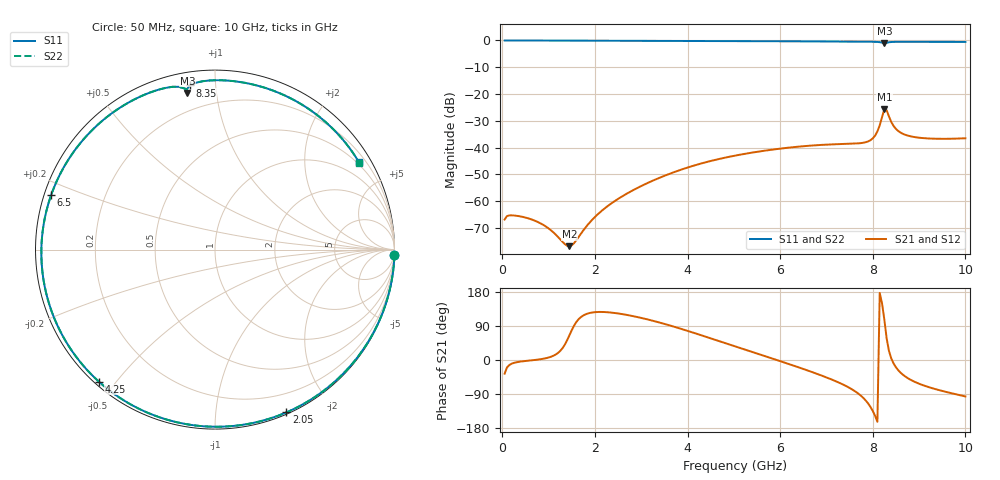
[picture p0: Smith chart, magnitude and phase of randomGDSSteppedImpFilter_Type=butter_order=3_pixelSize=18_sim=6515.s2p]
! freq	dB(S11)	phase(S11)	dB(S12)	phase(S12)
!  dB(S21)	phase(S21)	dB(S22)	phase(S22)
!S-par simulation data
#  GHz  S  DB  R 50
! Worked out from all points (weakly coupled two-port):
!   200 points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, 50 MHz to 10 GHz, reference 50 ohm
!   highest |S21| = -25.74 dB at 8.25 GHz (marker M1); lowest = -76.8 dB at 1.45 GHz (marker M2)
!   lowest |S11| = -1.1 dB at 8.25 GHz (marker M3), VSWR 16.44, Z = 5.17 + j41.7 ohm
!   |S11| at or under -10 dB: nowhere
!   |S22| runs from -1.1 to 0.0 dB; largest |S21 - S12| = 0
!   S11 on the Smith chart (normalised r, x): 50 MHz: 0, -69; 2.05 GHz: 0.02, -1.53; 4.25 GHz: 0.01, -0.45; 6.5 GHz: 0.02, +0.16; 8.35 GHz: 0.07, +0.86; 10 GHz: 0.44, +3.53
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0.05  -0.00 -1.7  -66.86 -36.1  -66.86 -36.1  -0.00 -1.7
0.2  -0.00 -6.7  -65.29 -9.9  -65.29 -9.9  -0.00 -6.7
0.7  -0.02 -23.2  -67.27 0.0  -67.27 0.0  -0.02 -23.2
1.45  -0.06 -47.5  -76.80 65.3  -76.80 65.3  -0.06 -47.5
1.75  -0.07 -56.9  -70.89 117.6  -70.89 117.6  -0.07 -57.0
2.05  -0.08 -66.3  -65.08 126.7  -65.08 126.7  -0.08 -66.3
2.6  -0.10 -83.1  -58.09 120.9  -58.09 120.9  -0.10 -83.1
3.4  -0.14 -106.8  -51.23 98.7  -51.23 98.7  -0.14 -106.8
4.25  -0.18 -131.3  -46.15 67.2  -46.15 67.2  -0.18 -131.4
5.05  -0.23 -154.4  -42.92 35.0  -42.92 35.0  -0.23 -154.5
5.8  -0.28 -176.6  -40.83 5.1  -40.83 5.1  -0.28 -176.7
6.5  -0.34 161.6  -39.48 -23.6  -39.48 -23.6  -0.34 161.5
6.7  -0.35 155.1  -39.21 -32.3  -39.21 -32.3  -0.35 155.1
7.3  -0.40 134.8  -38.70 -61.4  -38.70 -61.4  -0.40 134.8
7.9  -0.47 112.9  -37.68 -114.8  -37.68 -114.8  -0.47 112.8
8.1  -0.56 104.8  -33.97 -163.1  -33.97 -163.1  -0.56 104.7
8.25  -1.06 100.0  -25.74 106.4  -25.74 106.4  -1.07 99.9
8.35  -0.68 98.7  -28.40 23.8  -28.40 23.8  -0.68 98.7
8.5  -0.51 91.9  -33.02 -19.2  -33.02 -19.2  -0.51 91.9
8.75  -0.50 81.6  -35.50 -47.5  -35.50 -47.5  -0.50 81.5
9.35  -0.52 57.3  -36.69 -76.8  -36.69 -76.8  -0.52 57.2
10  -0.55 31.2  -36.52 -96.2  -36.52 -96.2  -0.55 31.1
